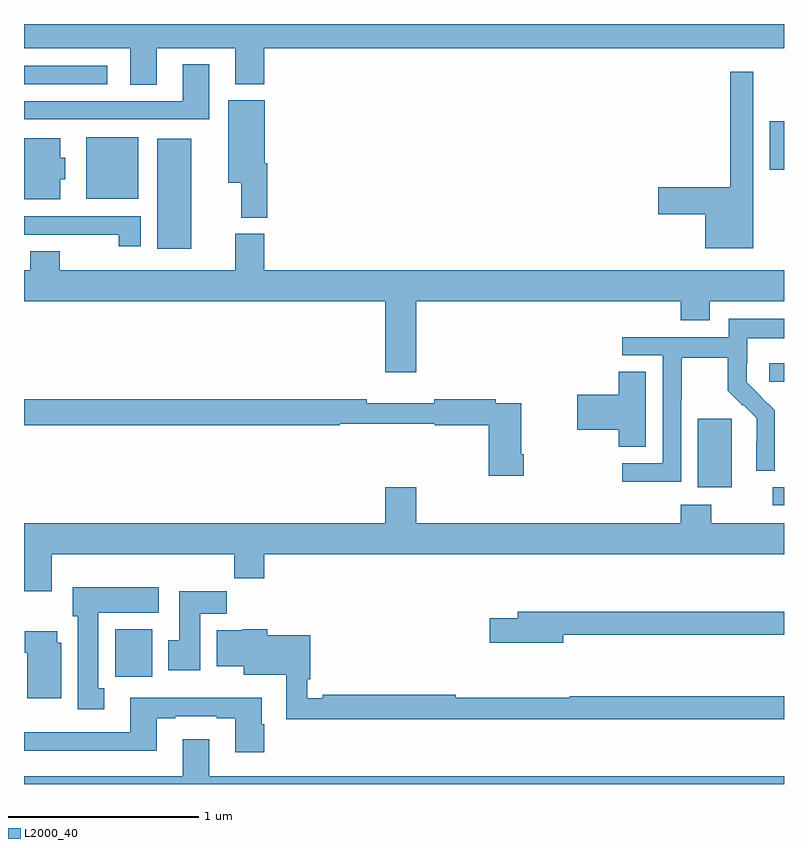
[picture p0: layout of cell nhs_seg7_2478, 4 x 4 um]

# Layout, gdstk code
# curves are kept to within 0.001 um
import gdstk
lib = gdstk.Library(unit=1e-6, precision=1e-09)
def R(c, l, rs):  # rectangles x0, y0, x1, y1
    for r in rs: c.add(gdstk.rectangle(r[:2], r[2:], *l))
def P(c, l, *ps):  # polygons
    for p in ps: c.add(gdstk.Polygon(p, *l))
L2000_40 = (2000, 40)

nhs_seg7_2478 = lib.new_cell('nhs_seg7_2478')
R(nhs_seg7_2478, L2000_40, [(271.479,1074.564,271.675,1074.814), (274.941,1075.467,275,1075.563), (274.547,1075.562,274.726,1075.923), (274.923,1076.118,275,1076.215), (271.7,1076.816,271.879,1077.397), (271.328,1077.08,271.6,1077.403), (274.925,1077.233,275,1077.487), (271,1077.684,271.438,1077.78)])
P(nhs_seg7_2478, L2000_40, [(271.699,1077.872),(272.111,1077.872),(272.111,1077.683),(272.264,1077.683),(272.264,1077.872),(275,1077.872),(275,1078),(271,1078),(271,1077.872),(271.559,1077.872),(271.559,1077.679),(271.699,1077.679)],
  [(271.975,1077.787),(271.835,1077.787),(271.835,1077.594),(271,1077.594),(271,1077.498),(271.975,1077.498)],
  [(274.837,1077.748),(274.716,1077.748),(274.716,1077.14),(274.338,1077.14),(274.338,1076.998),(274.586,1076.998),(274.586,1076.819),(274.837,1076.819)],
  [(272.279,1077.268),(272.266,1077.268),(272.266,1077.598),(272.075,1077.598),(272.075,1077.164),(272.144,1077.164),(272.144,1076.981),(272.279,1076.981)],
  [(271.192,1077.183),(271.216,1077.183),(271.216,1077.297),(271.192,1077.297),(271.192,1077.4),(271.001,1077.4),(271.001,1077.301),(271,1077.301),(271,1077.179),(271.001,1077.179),(271.001,1077.077),(271.192,1077.077)],
  [(271.615,1076.988),(271,1076.988),(271,1076.892),(271.27,1076.892),(271.27,1076.891),(271.498,1076.891),(271.498,1076.829),(271.615,1076.829)],
  [(272.9,1076.166),(273.064,1076.166),(273.064,1076.54),(274.457,1076.54),(274.457,1076.441),(274.609,1076.441),(274.609,1076.54),(275,1076.54),(275,1076.704),(272.264,1076.704),(272.264,1076.896),(272.111,1076.896),(272.111,1076.704),(271.187,1076.704),(271.187,1076.803),(271.034,1076.803),(271.034,1076.704),(271,1076.704),(271,1076.54),(272.9,1076.54)],
  [(274.458,1076.02),(274.461,1076.02),(274.461,1076.244),(274.705,1076.244),(274.705,1076.069),(274.782,1075.992),(274.785,1075.995),(274.856,1075.925),(274.856,1075.802),(274.854,1075.802),(274.854,1075.648),(274.95,1075.648),(274.95,1075.966),(274.804,1076.114),(274.804,1076.211),(274.806,1076.211),(274.806,1076.345),(275,1076.345),(275,1076.449),(274.71,1076.449),(274.71,1076.352),(274.149,1076.352),(274.149,1076.256),(274.362,1076.256),(274.362,1075.689),(274.149,1075.689),(274.149,1075.591),(274.458,1075.591)],
  [(274.273,1076.171),(274.13,1076.171),(274.13,1076.048),(273.912,1076.048),(273.912,1075.865),(274.13,1075.865),(274.13,1075.774),(274.273,1075.774)],
  [(273.629,1075.735),(273.616,1075.735),(273.616,1076.004),(273.482,1076.004),(273.482,1076.024),(273.16,1076.024),(273.16,1076.005),(272.804,1076.005),(272.804,1076.024),(271,1076.024),(271,1075.888),(272.662,1075.888),(272.662,1075.896),(273.162,1075.896),(273.162,1075.888),(273.446,1075.888),(273.446,1075.623),(273.629,1075.623)],
  [(271.147,1075.208),(272.107,1075.208),(272.107,1075.084),(272.264,1075.084),(272.264,1075.208),(275,1075.208),(275,1075.372),(274.617,1075.372),(274.617,1075.471),(274.457,1075.471),(274.457,1075.372),(273.064,1075.372),(273.064,1075.561),(272.9,1075.561),(272.9,1075.372),(271,1075.372),(271,1075.014),(271.147,1075.014)],
  [(271.423,1074.505),(271.39,1074.505),(271.39,1074.902),(271.708,1074.902),(271.708,1075.036),(271.256,1075.036),(271.256,1074.882),(271.283,1074.882),(271.283,1074.393),(271.423,1074.393)],
  [(271.927,1074.896),(272.066,1074.896),(272.066,1075.015),(271.817,1075.015),(271.817,1074.756),(271.76,1074.756),(271.76,1074.6),(271.927,1074.6)],
  [(273.838,1074.786),(275,1074.786),(275,1074.907),(273.599,1074.907),(273.599,1074.873),(273.45,1074.873),(273.45,1074.743),(273.838,1074.743)],
  [(275,1074.463),(273.872,1074.463),(273.872,1074.455),(273.272,1074.455),(273.272,1074.47),(272.572,1074.47),(272.572,1074.452),(272.491,1074.452),(272.491,1074.552),(272.506,1074.552),(272.506,1074.783),(272.279,1074.783),(272.279,1074.814),(272.148,1074.814),(272.148,1074.808),(272.015,1074.808),(272.015,1074.62),(272.156,1074.62),(272.156,1074.575),(272.379,1074.575),(272.379,1074.342),(275,1074.342)],
  [(271.195,1074.744),(271.174,1074.744),(271.174,1074.805),(271.004,1074.805),(271.004,1074.692),(271.016,1074.692),(271.016,1074.452),(271.195,1074.452)],
  [(272.264,1074.315),(272.251,1074.315),(272.251,1074.454),(271.559,1074.454),(271.559,1074.273),(271,1074.273),(271,1074.176),(271.699,1074.176),(271.699,1074.345),(271.795,1074.345),(271.795,1074.357),(272.015,1074.357),(272.015,1074.345),(272.111,1074.345),(272.111,1074.168),(272.264,1074.168)],
  [(275,1074.04),(271.975,1074.04),(271.975,1074.235),(271.835,1074.235),(271.835,1074.04),(271,1074.04),(271,1074),(275,1074)])

lib.write_gds('nhs_seg7_2478.gds')
